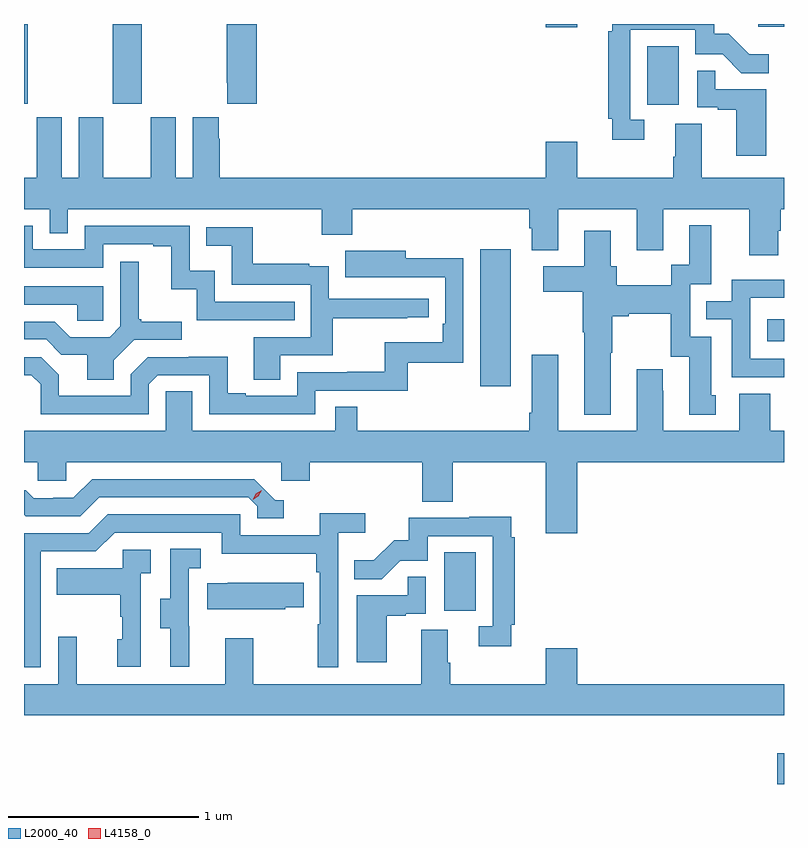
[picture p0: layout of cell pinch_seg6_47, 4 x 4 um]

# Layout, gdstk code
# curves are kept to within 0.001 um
import gdstk
lib = gdstk.Library(unit=1e-6, precision=1e-09)
def R(c, l, rs):  # rectangles x0, y0, x1, y1
    for r in rs: c.add(gdstk.rectangle(r[:2], r[2:], *l))
def P(c, l, *ps):  # polygons
    for p in ps: c.add(gdstk.Polygon(p, *l))
L2000_40 = (2000, 40)
L4158_0 = (4158, 0)

pinch_seg6_47 = lib.new_cell('pinch_seg6_47')
R(pinch_seg6_47, L2000_40, [(993.397,936.318,993.433,936.481), (991.646,937.23,991.81,937.537), (991.835,938.412,991.996,939.133), (993.345,938.649,993.433,938.764), (992.714,939.894,992.878,940.201), (989.433,939.897,989.454,940.318), (989.899,939.897,990.054,940.318), (992.18,940.302,992.344,940.318), (993.297,940.304,993.433,940.318)])
P(pinch_seg6_47, L2000_40, [(992.698,939.813),(992.625,939.813),(992.625,940.287),(992.967,940.287),(992.967,940.158),(993.111,940.158),(993.209,940.06),(993.353,940.06),(993.353,940.159),(993.249,940.159),(993.142,940.266),(993.066,940.266),(993.066,940.318),(992.528,940.318),(992.528,940.28),(992.509,940.28),(992.509,939.82),(992.528,939.82),(992.528,939.708),(992.698,939.708)],
  [(990.659,940.318),(990.499,940.318),(990.499,940.009),(990.503,940.009),(990.503,939.897),(990.659,939.897)],
  [(993.34,939.975),(993.071,939.975),(993.071,940.073),(992.976,940.073),(992.976,939.879),(993.083,939.879),(993.083,939.867),(993.182,939.867),(993.182,939.624),(993.34,939.624)],
  [(993.403,939.231),(993.416,939.231),(993.416,939.344),(993.433,939.344),(993.433,939.508),(993.001,939.508),(993.001,939.794),(992.861,939.794),(992.861,939.62),(992.849,939.62),(992.849,939.508),(992.344,939.508),(992.344,939.697),(992.18,939.697),(992.18,939.508),(990.464,939.508),(990.464,939.713),(990.457,939.713),(990.457,939.826),(990.32,939.826),(990.32,939.508),(990.232,939.508),(990.232,939.826),(990.101,939.826),(990.101,939.508),(989.851,939.508),(989.851,939.826),(989.72,939.826),(989.72,939.508),(989.632,939.508),(989.632,939.826),(989.501,939.826),(989.501,939.508),(989.433,939.508),(989.433,939.344),(989.568,939.344),(989.568,939.217),(989.664,939.217),(989.664,939.344),(991,939.344),(991,939.209),(991.16,939.209),(991.16,939.344),(992.093,939.344),(992.093,939.243),(992.105,939.243),(992.105,939.128),(992.245,939.128),(992.245,939.344),(992.657,939.344),(992.657,939.126),(992.797,939.126),(992.797,939.344),(993.251,939.344),(993.251,939.102),(993.403,939.102)],
  [(992.521,938.587),(992.529,938.587),(992.529,938.78),(992.617,938.78),(992.617,938.792),(992.837,938.792),(992.837,938.568),(992.933,938.568),(992.933,938.262),(993.073,938.262),(993.073,938.364),(993.049,938.364),(993.049,938.673),(992.94,938.673),(992.94,938.949),(993.049,938.949),(993.049,939.259),(992.933,939.259),(992.933,939.05),(992.839,939.05),(992.839,938.944),(992.554,938.944),(992.554,939.043),(992.521,939.043),(992.521,939.229),(992.381,939.229),(992.381,939.043),(992.166,939.043),(992.166,938.909),(992.374,938.909),(992.374,938.696),(992.381,938.696),(992.381,938.261),(992.521,938.261)],
  [(990.857,938.856),(990.438,938.856),(990.438,939.019),(990.306,939.019),(990.306,939.255),(989.754,939.255),(989.754,939.132),(989.478,939.132),(989.478,939.255),(989.433,939.255),(989.433,939.036),(989.85,939.036),(989.85,939.159),(990.113,939.159),(990.113,939.147),(990.209,939.147),(990.209,938.921),(990.342,938.921),(990.342,938.76),(990.857,938.76)],
  [(990.781,938.574),(991.058,938.574),(991.058,938.77),(991.451,938.77),(991.451,938.775),(991.564,938.775),(991.564,938.871),(991.038,938.871),(991.038,939.043),(990.935,939.043),(990.935,939.055),(990.637,939.055),(990.637,939.249),(990.391,939.249),(990.391,939.152),(990.526,939.152),(990.526,938.946),(990.942,938.946),(990.942,938.67),(990.641,938.67),(990.641,938.446),(990.781,938.446)],
  [(990.09,938.421),(990.138,938.469),(990.408,938.469),(990.408,938.265),(990.966,938.265),(990.966,938.388),(991.453,938.388),(991.453,938.535),(991.746,938.535),(991.746,939.086),(991.441,939.086),(991.441,939.124),(991.123,939.124),(991.123,938.984),(991.65,938.985),(991.65,938.74),(991.637,938.74),(991.637,938.644),(991.332,938.644),(991.332,938.489),(991.135,938.489),(991.135,938.484),(990.87,938.484),(990.87,938.361),(990.601,938.361),(990.601,938.374),(990.505,938.374),(990.505,938.567),(990.3,938.567),(990.3,938.565),(990.084,938.565),(989.994,938.475),(989.994,938.361),(989.617,938.361),(989.617,938.471),(989.523,938.565),(989.433,938.565),(989.433,938.469),(989.472,938.469),(989.52,938.421),(989.52,938.265),(990.09,938.265)],
  [(989.905,938.548),(990.012,938.655),(990.262,938.655),(990.262,938.752),(990.049,938.752),(990.049,938.764),(990.037,938.764),(990.037,939.067),(989.94,939.067),(989.94,938.727),(989.883,938.67),(989.677,938.67),(989.596,938.751),(989.433,938.751),(989.433,938.658),(989.55,938.658),(989.63,938.578),(989.765,938.578),(989.765,938.446),(989.905,938.446)],
  [(993.433,938.556),(993.255,938.556),(993.255,938.877),(993.433,938.877),(993.433,938.973),(993.159,938.973),(993.159,938.859),(993.025,938.859),(993.025,938.763),(993.159,938.763),(993.159,938.46),(993.433,938.46)],
  [(989.85,938.937),(989.433,938.937),(989.433,938.841),(989.713,938.841),(989.713,938.757),(989.85,938.757)],
  [(992.344,938.012),(993.433,938.012),(993.433,938.176),(993.361,938.176),(993.361,938.371),(993.197,938.371),(993.197,938.176),(992.797,938.176),(992.797,938.387),(992.794,938.387),(992.794,938.5),(992.657,938.5),(992.657,938.176),(992.245,938.176),(992.245,938.578),(992.105,938.578),(992.105,938.272),(992.093,938.272),(992.093,938.176),(991.187,938.176),(991.187,938.303),(991.071,938.303),(991.071,938.176),(990.319,938.176),(990.319,938.384),(990.18,938.384),(990.18,938.176),(989.433,938.176),(989.433,938.012),(989.505,938.012),(989.505,937.914),(989.655,937.914),(989.655,938.012),(990.786,938.012),(990.786,937.914),(990.938,937.914),(990.938,938.012),(991.529,938.012),(991.529,937.804),(991.689,937.804),(991.689,938.012),(992.18,938.012),(992.18,937.638),(992.344,937.638)],
  [(990.799,937.812),(990.756,937.812),(990.645,937.923),(989.792,937.923),(989.693,937.824),(989.586,937.824),(989.586,937.821),(989.483,937.821),(989.441,937.864),(989.433,937.864),(989.433,937.736),(989.441,937.728),(989.73,937.728),(989.829,937.827),(990.612,937.827),(990.66,937.779),(990.66,937.716),(990.799,937.716)],
  [(989.52,937.542),(989.811,937.542),(989.91,937.641),(990.474,937.641),(990.474,937.529),(990.97,937.529),(990.97,937.433),(990.99,937.433),(990.99,937.16),(990.978,937.16),(990.978,936.933),(991.086,936.933),(991.086,937.64),(991.228,937.64),(991.228,937.742),(990.989,937.742),(990.989,937.626),(990.57,937.626),(990.57,937.737),(989.873,937.737),(989.774,937.638),(989.433,937.638),(989.433,936.933),(989.52,936.933)],
  [(991.997,937.156),(992.015,937.156),(992.015,937.616),(991.997,937.616),(991.997,937.724),(991.777,937.724),(991.777,937.719),(991.459,937.719),(991.459,937.602),(991.382,937.602),(991.275,937.495),(991.171,937.495),(991.171,937.396),(991.315,937.396),(991.413,937.494),(991.557,937.494),(991.557,937.623),(991.899,937.623),(991.899,937.149),(991.827,937.149),(991.827,937.044),(991.997,937.044)],
  [(990.302,937.149),(990.3,937.149),(990.3,937.453),(990.364,937.453),(990.364,937.556),(990.204,937.556),(990.204,937.293),(990.149,937.293),(990.149,937.138),(990.203,937.138),(990.203,936.936),(990.302,936.936)],
  [(990.048,937.427),(990.1,937.427),(990.1,937.551),(989.952,937.551),(989.952,937.453),(989.605,937.453),(989.605,937.313),(989.94,937.313),(989.94,937.199),(989.95,937.199),(989.95,937.08),(989.924,937.08),(989.924,936.936),(990.048,936.936)],
  [(991.342,937.203),(991.442,937.203),(991.442,937.215),(991.548,937.215),(991.548,937.409),(991.453,937.409),(991.453,937.311),(991.184,937.311),(991.184,936.96),(991.342,936.96)],
  [(990.807,937.249),(990.905,937.249),(990.905,937.378),(990.505,937.378),(990.505,937.375),(990.397,937.375),(990.397,937.238),(990.807,937.238)],
  [(990.491,937.084),(990.491,936.844),(989.711,936.844),(989.711,937.093),(989.613,937.093),(989.613,936.844),(989.433,936.844),(989.433,936.68),(993.433,936.68),(993.433,936.844),(992.344,936.844),(992.344,937.033),(992.18,937.033),(992.18,936.844),(991.676,936.844),(991.676,936.956),(991.663,936.956),(991.663,937.13),(991.523,937.13),(991.523,936.844),(990.639,936.844),(990.639,937.084)])
P(pinch_seg6_47, L4158_0, [(990.636,937.813),(990.636,937.813),(990.652,937.846),(990.683,937.865),(990.684,937.865),(990.684,937.865),(990.667,937.832),(990.636,937.813)])

lib.write_gds('pinch_seg6_47.gds')
